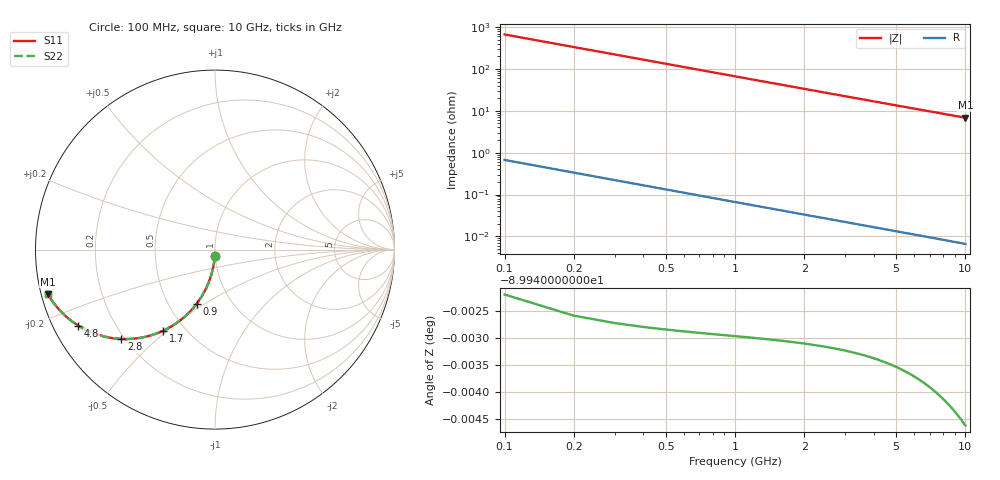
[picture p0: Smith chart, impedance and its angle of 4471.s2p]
# Hz S RI R 50.00
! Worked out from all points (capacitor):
!   100 points, 100 MHz to 10 GHz, reference 50 ohm
!   read as one part in shunt: C = 2.39 pF near 100 MHz
!   lowest |Z| = 6.85 ohm at 10 GHz (marker M1)
!   S11 on the Smith chart (normalised r, x): 100 MHz: 0.99, -0.07; 900 MHz: 0.69, -0.46; 1.7 GHz: 0.38, -0.48; 2.8 GHz: 0.19, -0.39; 4.8 GHz: 0.07, -0.26; 10 GHz: 0.02, -0.13
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1e8  -0.00144 -0.0375  0.9985 -0.0375  0.9985 -0.0375  -0.00144 -0.0375
2e8  -0.00568 -0.0746  0.9943 -0.0748  0.9943 -0.0748  -0.00568 -0.0746
3e8  -0.0126 -0.1111  0.9874 -0.1114  0.9874 -0.1114  -0.0126 -0.1111
4e8  -0.0222 -0.1467  0.9778 -0.147  0.9778 -0.147  -0.0222 -0.1467
5e8  -0.0342 -0.181  0.9658 -0.1815  0.9658 -0.1815  -0.0342 -0.181
6e8  -0.0485 -0.214  0.9515 -0.2145  0.9515 -0.2145  -0.0485 -0.214
7e8  -0.0647 -0.2453  0.9352 -0.2459  0.9352 -0.2459  -0.0647 -0.2453
9e8  -0.1025 -0.3025  0.8975 -0.3032  0.8975 -0.3032  -0.1025 -0.3025
1.1e9  -0.1456 -0.3517  0.8544 -0.3527  0.8544 -0.3527  -0.1456 -0.3517
1.3e9  -0.192 -0.3928  0.808 -0.3939  0.808 -0.3939  -0.192 -0.3928
1.7e9  -0.2884 -0.4518  0.7116 -0.4533  0.7116 -0.4533  -0.2884 -0.4518
1.8e9  -0.3123 -0.4621  0.6877 -0.4637  0.6877 -0.4637  -0.3123 -0.4621
2.3e9  -0.4249 -0.4928  0.575 -0.4948  0.575 -0.4948  -0.4249 -0.4928
2.8e9  -0.522 -0.4978  0.478 -0.5002  0.478 -0.5002  -0.522 -0.4978
3.4e9  -0.6162 -0.4843  0.3838 -0.4873  0.3838 -0.4873  -0.6162 -0.4843
4.1e9  -0.6994 -0.4562  0.3005 -0.4598  0.3005 -0.4598  -0.6994 -0.4562
4.8e9  -0.7608 -0.4239  0.2391 -0.4282  0.2391 -0.4282  -0.7608 -0.4239
5.1e9  -0.782 -0.4101  0.2179 -0.4146  0.2179 -0.4146  -0.782 -0.4101
5.8e9  -0.8224 -0.379  0.1775 -0.3842  0.1775 -0.3842  -0.8224 -0.379
6.7e9  -0.8605 -0.3429  0.1395 -0.3489  0.1395 -0.3489  -0.8605 -0.3429
8.4e9  -0.9063 -0.287  0.0936 -0.2946  0.0936 -0.2946  -0.9063 -0.287
1e10  -0.932 -0.2466  0.0679 -0.2557  0.0679 -0.2557  -0.932 -0.2466
